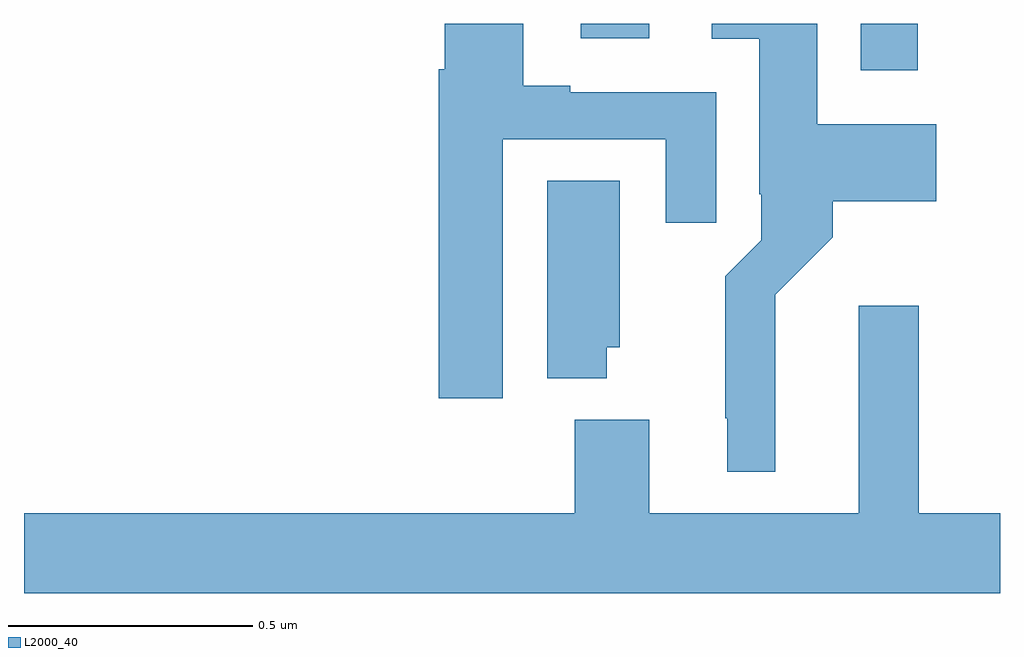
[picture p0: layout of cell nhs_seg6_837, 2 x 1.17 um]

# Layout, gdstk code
import gdstk
lib = gdstk.Library(unit=1e-6, precision=1e-09)
def R(c, l, rs):  # rectangles x0, y0, x1, y1
    for r in rs: c.add(gdstk.rectangle(r[:2], r[2:], *l))
def P(c, l, *ps):  # polygons
    for p in ps: c.add(gdstk.Polygon(p, *l))
L2000_40 = (2000, 40)

nhs_seg6_837 = lib.new_cell('nhs_seg6_837')
R(nhs_seg6_837, L2000_40, [(122.715,952.404,122.831,952.5), (122.141,952.47,122.281,952.5)])
P(nhs_seg6_837, L2000_40, [(122.539,951.944),(122.657,952.062),(122.657,952.136),(122.869,952.136),(122.869,952.294),(122.626,952.294),(122.626,952.5),(122.409,952.5),(122.409,952.469),(122.507,952.469),(122.507,952.15),(122.511,952.15),(122.511,952.056),(122.437,951.982),(122.437,951.691),(122.441,951.691),(122.441,951.581),(122.539,951.581)],
  [(121.981,952.263),(122.315,952.263),(122.315,952.092),(122.419,952.092),(122.419,952.359),(122.119,952.359),(122.119,952.372),(122.023,952.372),(122.023,952.5),(121.862,952.5),(121.862,952.406),(121.85,952.406),(121.85,951.732),(121.981,951.732)],
  [(122.194,951.837),(122.221,951.837),(122.221,952.178),(122.072,952.178),(122.072,951.773),(122.194,951.773)],
  [(123,951.496),(122.834,951.496),(122.834,951.922),(122.711,951.922),(122.711,951.496),(122.281,951.496),(122.281,951.688),(122.129,951.688),(122.129,951.496),(121,951.496),(121,951.332),(123,951.332)])

lib.write_gds('nhs_seg6_837.gds')
